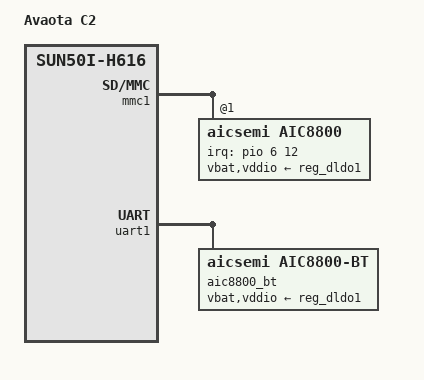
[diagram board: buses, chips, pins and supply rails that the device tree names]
// SPDX-License-Identifier: (GPL-2.0+ or MIT)
/*
 * Copyright (C) 2025 BigfootACA <bigfoot@classfun.cn>.
 */

/dts-v1/;

#include "sun50i-h616.dtsi"
#include "sun50i-h616-cpu-opp.dtsi"
#include "sun50i-h616-gpu-opp.dtsi"
#include "sun50i-h616-yuzuki-chameleon-base.dtsi"

/ {
	model = "Avaota C2";
	compatible = "avaota-c2", "allwinner,sun50i-h618", "allwinner,sun50i-h616";

	wifi_clk: wifi-clk {
		compatible = "fixed-clock";
		clock-frequency = <26000000>;
		#clock-cells = <0>;
	};
};

/* AICSemi AIC8800 WiFi */
&mmc1 {
	status = "okay";

	aic8800: wifi@1 {
		reg = <1>;
		compatible = "aicsemi,aic8800";
		clocks = <&wifi_clk>;
		clock-names = "default";
		pinctrl-names = "default";
		pinctrl-0 = <&wifi_wake>;
		interrupt-parent = <&pio>;
		interrupts = <6 12 IRQ_TYPE_EDGE_RISING>; /* PG12 */
		interrupt-names = "host-wake";
		vbat-supply = <&reg_dldo1>;
		vddio-supply = <&reg_dldo1>;
	};
};

/* AICSemi AIC8800 Bluetooth */
&uart1 {
	status = "okay";

	aic8800_bt: bluetooth {
		compatible = "aicsemi,aic8800-bt";
		clocks = <&wifi_clk>;
		clock-names = "default";
		vbat-supply = <&reg_dldo1>;
		vddio-supply = <&reg_dldo1>;
	};
};
